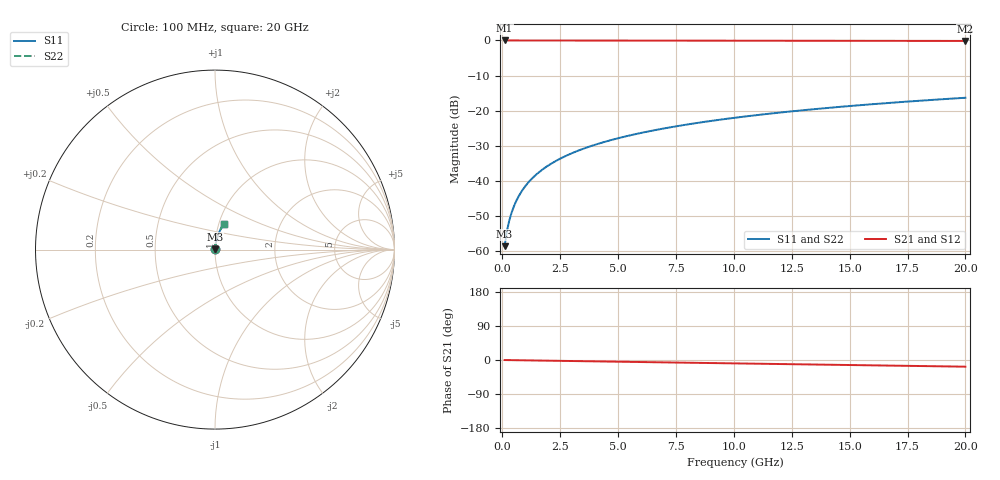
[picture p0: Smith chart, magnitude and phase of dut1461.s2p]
! Touchstone file exported from HFSS 2026.1.0
!  File:  C:/ffzhzh/LocalFiles/Ansys_Project_Files/temp_train_TMRDL_1461_1783167364_51560.aedt
!  Generated:  08:17:15 PM Jul  4, 2026
!  Design:  TMRDL
!  Project:  temp_train_TMRDL_1461_1783167364_51560
! Variables:
!  h_bsmrdl = 2um
!  h_ox = 20um
!  h_rdl = 5um
!  h_sub = 80um
!  h_tmrdl = 5.83um
!  h_tsv = 80um
!  h_via = 3um
!  l_bsmrdl = 300um
!  l_sub = 640.51um
!  l_tmrdl = 240.51um
!  m_sub = 200um
!  pitch = 48.99um
!  r_tsv = 6um
!  s_tmrdl = 10um
!  w_bsmrdl = 18um
!  w_sub = 500um
!  w_tmrdl = 25.08um
!  x_tsv_center1 = 253.05um
!  x_tsv_center2 = 571.05um
!  x_tsv_center3 = 836.64um
!  x_tsv_center4 = 1154.64um
!  x_tsv_center5 = 1420.23um
!  x_tsv_center6 = 1738.23um
# GHz S MA R 50.000000
! Terminal data exported
! Port[1] = TM_RDL1_1_T1
! Port[2] = TM_RDL1_1_T2
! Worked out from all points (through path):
!   200 points, 100 MHz to 20 GHz, reference 50 ohm
!   highest |S21| = -0.01 dB at 100 MHz (marker M1); lowest = -0.1 dB at 20 GHz (marker M2)
!   group delay of S21, straight-line fit = 2.44 ps
!   lowest |S11| = -58.6 dB at 100 MHz (marker M3), VSWR 1.00, Z = 50.1 + j0.0915 ohm
!   |S11| at or under -10 dB: start of sweep to end of sweep
!   |S22| runs from -58.6 to -16.3 dB; largest |S21 - S12| = 7.1e-15
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0.1  0.001175 51.1  0.9993 -0.1  0.9993 -0.1  0.001175 51.1
! Gamma 0 0 0 0
! Port Impedance 50 0 50 0
0.2  0.001926 65.5  0.9992 -0.2  0.9992 -0.2  0.001926 65.5
0.3  0.00271 72.1  0.9991 -0.3  0.9991 -0.3  0.00271 72.1
0.4  0.003514 75.8  0.9991 -0.4  0.9991 -0.4  0.003513 75.8
0.5  0.004329 78.1  0.9991 -0.5  0.9991 -0.5  0.004328 78.1
0.7  0.005975 80.7  0.999 -0.6  0.999 -0.6  0.005975 80.7
0.8  0.006802 81.5  0.999 -0.7  0.999 -0.7  0.006802 81.5
1  0.008457 82.6  0.9989 -0.9  0.9989 -0.9  0.008457 82.6
1.2  0.01011 83.2  0.9989 -1.1  0.9989 -1.1  0.01011 83.2
1.4  0.01176 83.5  0.9988 -1.3  0.9988 -1.3  0.01176 83.5
1.7  0.01422 83.7  0.9987 -1.6  0.9987 -1.6  0.01422 83.7
2  0.01667 83.8  0.9986 -1.8  0.9986 -1.8  0.01667 83.8
2.7  0.02232 83.6  0.9982 -2.5  0.9982 -2.5  0.02232 83.6
3.5  0.02869 83.2  0.9978 -3.2  0.9978 -3.2  0.02869 83.2
4.2  0.03421 82.8  0.9974 -3.8  0.9974 -3.8  0.03421 82.8
5  0.04046 82.3  0.9969 -4.5  0.9969 -4.5  0.04046 82.3
6.8  0.05442 81.1  0.9958 -6.1  0.9958 -6.1  0.05442 81.1
8.3  0.06595 80.0  0.9948 -7.4  0.9948 -7.4  0.06595 80.0
10.1  0.07967 78.6  0.9935 -9.0  0.9935 -9.0  0.07967 78.6
13.4  0.1045 76.0  0.9907 -11.9  0.9907 -11.9  0.1045 76.0
16.7  0.1288 73.3  0.9874 -14.8  0.9874 -14.8  0.1288 73.3
20  0.1526 70.7  0.9836 -17.6  0.9836 -17.6  0.1526 70.7
